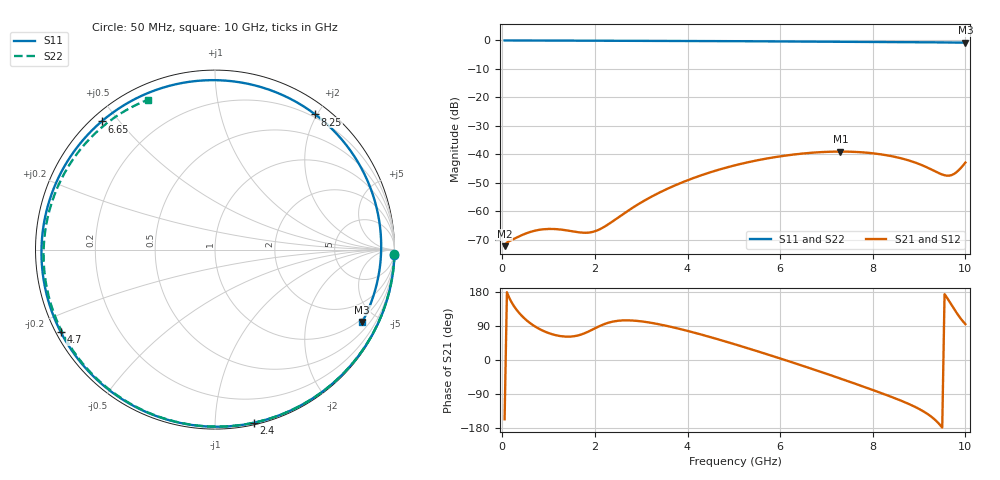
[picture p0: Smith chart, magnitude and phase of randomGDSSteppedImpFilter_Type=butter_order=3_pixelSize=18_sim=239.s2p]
! freq	dB(S11)	phase(S11)	dB(S12)	phase(S12)
!  dB(S21)	phase(S21)	dB(S22)	phase(S22)
!S-par simulation data
#  GHz  S  DB  R 50
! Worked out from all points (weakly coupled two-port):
!   200 points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, 50 MHz to 10 GHz, reference 50 ohm
!   highest |S21| = -39.06 dB at 7.3 GHz (marker M1); lowest = -72.3 dB at 50 MHz (marker M2)
!   lowest |S11| = -0.8 dB at 10 GHz (marker M3), VSWR 22.34, Z = 42 - j207 ohm
!   |S11| at or under -10 dB: nowhere
!   |S22| runs from -0.8 to 0.0 dB; largest |S21 - S12| = 0
!   S11 on the Smith chart (normalised r, x): 50 MHz: 0, -69; 2.4 GHz: 0.01, -1.25; 4.7 GHz: 0.01, -0.25; 6.65 GHz: 0.03, +0.45; 8.25 GHz: 0.16, +1.98; 10 GHz: 0.84, -4.14
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0.05  -0.00 -1.7  -72.32 -156.3  -72.32 -156.3  -0.00 -1.3
0.35  -0.01 -11.5  -68.98 126.2  -68.98 126.2  -0.01 -9.0
0.8  -0.03 -26.2  -66.56 81.9  -66.56 81.9  -0.02 -20.5
1.75  -0.07 -56.8  -67.59 69.3  -67.59 69.3  -0.06 -44.2
2.05  -0.08 -66.4  -66.78 86.5  -66.78 86.5  -0.07 -51.5
2.4  -0.10 -77.5  -63.40 101.6  -63.40 101.6  -0.08 -59.9
3.4  -0.14 -109.1  -53.43 93.9  -53.43 93.9  -0.11 -83.3
4.05  -0.18 -130.1  -48.84 75.2  -48.84 75.2  -0.14 -97.9
4.7  -0.23 -152.0  -45.32 53.1  -45.32 53.1  -0.17 -112.3
5.05  -0.26 -164.3  -43.79 40.4  -43.79 40.4  -0.18 -120.0
5.85  -0.33 165.5  -41.12 10.0  -41.12 10.0  -0.23 -137.4
6.25  -0.37 149.0  -40.18 -5.8  -40.18 -5.8  -0.26 -146.2
6.65  -0.41 131.5  -39.51 -21.9  -39.51 -21.9  -0.30 -155.1
6.7  -0.42 129.2  -39.45 -24.0  -39.45 -24.0  -0.30 -156.3
7.3  -0.48 100.9  -39.06 -48.9  -39.06 -48.9  -0.36 -170.0
7.75  -0.52 78.6  -39.30 -68.2  -39.30 -68.2  -0.41 179.2
8.25  -0.56 53.5  -40.22 -90.3  -40.22 -90.3  -0.46 166.6
8.35  -0.57 48.5  -40.50 -94.9  -40.50 -94.9  -0.48 164.0
8.95  -0.62 19.2  -43.13 -125.9  -43.13 -125.9  -0.56 147.5
9.6  -0.70 -9.9  -47.53 164.9  -47.53 164.9  -0.68 127.7
9.8  -0.74 -18.2  -46.41 126.5  -46.41 126.5  -0.72 121.1
10  -0.78 -26.2  -42.92 94.6  -42.92 94.6  -0.77 114.1
